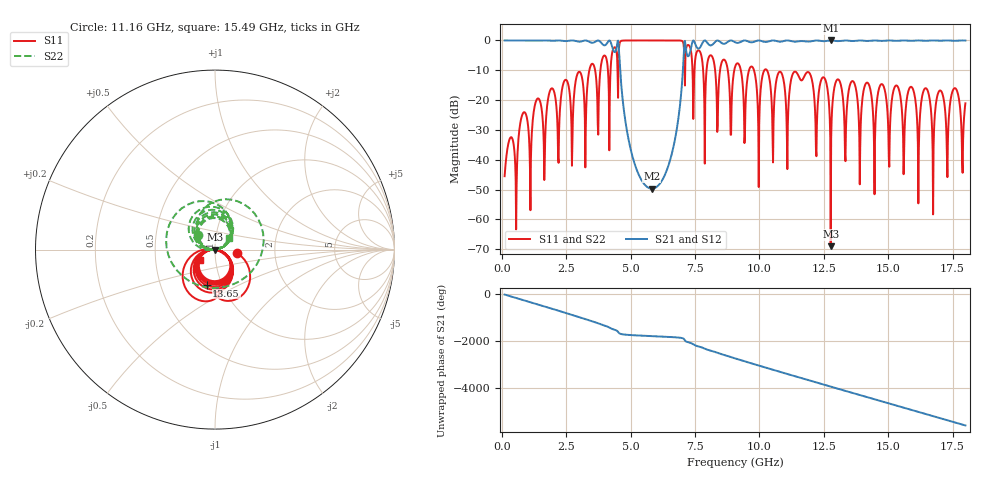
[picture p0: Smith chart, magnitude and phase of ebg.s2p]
! Resultado: ebg
! Gerado por LTA - linhas periodicas
# GHz S RI R 50
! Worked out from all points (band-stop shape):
!   1000 points, 100 MHz to 18 GHz, reference 50 ohm
!   highest |S21| = 0.00 dB at 12.77 GHz (marker M1); lowest = -49.7 dB at 5.816 GHz (marker M2)
!   |S21| within 3 dB of the highest: start of sweep to 4.311 GHz; 7.329 GHz to end of sweep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
!   lowest |S11| = -69.0 dB at 12.77 GHz (marker M3), VSWR 1.00, Z = 50 + j0.00431 ohm
!   |S11| at or under -10 dB: start of sweep to 3.391 GHz; 9.787 GHz to 10.19 GHz (402.5 MHz wide, 4.03 % of centre); 10.29 GHz to end of sweep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
!   |S22| runs from -69.0 to 0.0 dB; largest |S21 - S12| = 0
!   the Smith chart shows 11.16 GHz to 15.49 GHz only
!   S11 on the Smith chart (normalised r, x): 11.16 GHz: 1.28, -0.05; 13.65 GHz: 0.84, -0.35; 15.49 GHz: 0.84, -0.10
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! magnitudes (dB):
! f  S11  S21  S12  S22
! 100 MHz  -45.5  0.0  0.0  -45.5
! 834.6 MHz  -24.2  0.0  0.0  -24.2
! 1.103 GHz  -56.9  0.0  0.0  -56.9
! 1.354 GHz  -19.7  0.0  0.0  -19.7
! 1.641 GHz  -46.8  0.0  0.0  -46.8
! 1.892 GHz  -16.4  -0.1  -0.1  -16.4
! 2.178 GHz  -39.3  0.0  0.0  -39.3
! 3.092 GHz  -11.9  -0.3  -0.3  -11.9
! 4.472 GHz  -6.0  -1.3  -1.3  -6.0
! 5.027 GHz  0.0  -37.6  -37.6  0.0
! 5.816 GHz  0.0  -49.7  -49.7  0.0
! 6.067 GHz  0.0  -48.7  -48.7  0.0
! 6.676 GHz  0.0  -35.0  -35.0  0.0
! 7.142 GHz  -3.3  -2.7  -2.7  -3.3
! 9.059 GHz  -8.7  -0.6  -0.6  -8.7
! 11.16 GHz  -18.1  -0.1  -0.1  -18.1
! 12.05 GHz  -13.7  -0.2  -0.2  -13.7
! 12.77 GHz  -69.0  0.0  0.0  -69.0
! 13.65 GHz  -13.8  -0.2  -0.2  -13.8
! 15.03 GHz  -39.5  0.0  0.0  -39.5
! 15.49 GHz  -19.8  0.0  0.0  -19.8
! 18 GHz  -21.1  0.0  0.0  -21.1
